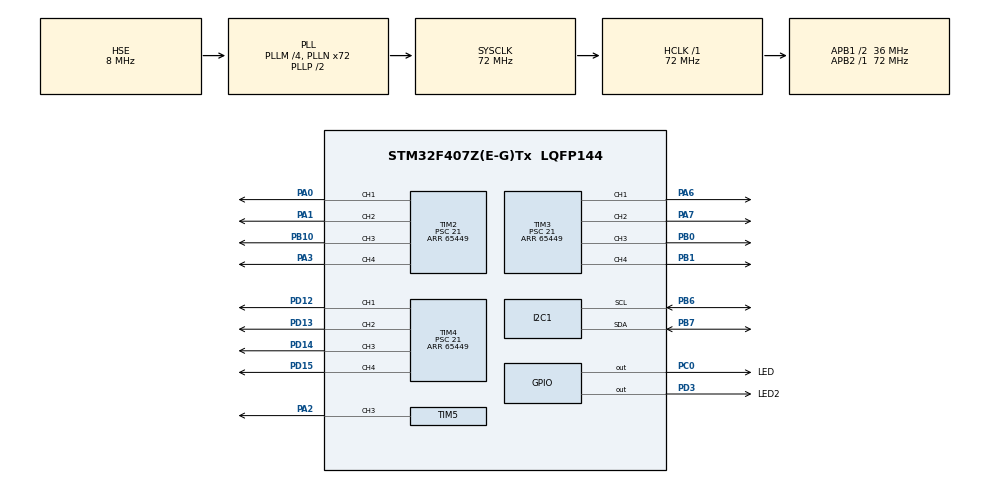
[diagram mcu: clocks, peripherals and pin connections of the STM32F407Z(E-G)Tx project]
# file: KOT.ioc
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Dma.I2C1_RX.0.Direction=DMA_PERIPH_TO_MEMORY
Dma.I2C1_RX.0.FIFOMode=DMA_FIFOMODE_DISABLE
Dma.I2C1_RX.0.Instance=DMA1_Stream0
Dma.I2C1_RX.0.MemDataAlignment=DMA_MDATAALIGN_BYTE
Dma.I2C1_RX.0.MemInc=DMA_MINC_ENABLE
Dma.I2C1_RX.0.Mode=DMA_NORMAL
Dma.I2C1_RX.0.PeriphDataAlignment=DMA_PDATAALIGN_BYTE
Dma.I2C1_RX.0.PeriphInc=DMA_PINC_DISABLE
Dma.I2C1_RX.0.Priority=DMA_PRIORITY_LOW
Dma.Request0=I2C1_RX
I2C1.I2C_Mode=I2C_Fast
Mcu.Family=STM32F4
Mcu.Name=STM32F407Z(E-G)Tx
Mcu.Package=LQFP144
NVIC.DMA1_Stream0_IRQn=true\:0\:0\:false\:false\:true\:false\:true\:true
NVIC.I2C1_ER_IRQn=true\:0\:0\:false\:false\:true\:true\:true\:true
NVIC.I2C1_EV_IRQn=true\:0\:0\:false\:false\:true\:true\:true\:true
NVIC.PriorityGroup=NVIC_PRIORITYGROUP_4
NVIC.TIM2_IRQn=true\:0\:0\:false\:false\:true\:true\:true\:true
NVIC.TIM3_IRQn=true\:0\:0\:false\:false\:true\:true\:true\:true
NVIC.TIM4_IRQn=true\:0\:0\:false\:false\:true\:true\:true\:true
NVIC.TIM5_IRQn=true\:0\:0\:false\:false\:true\:true\:true\:true
PA0-WKUP.Signal=S_TIM2_CH1_ETR
PA1.Signal=S_TIM2_CH2
PA2.Signal=S_TIM5_CH3
PA3.Signal=S_TIM2_CH4
PA6.Signal=S_TIM3_CH1
PA7.Signal=S_TIM3_CH2
PB0.Signal=S_TIM3_CH3
PB1.Signal=S_TIM3_CH4
PB10.Signal=S_TIM2_CH3
PB6.Mode=I2C
PB6.Signal=I2C1_SCL
PB7.Mode=I2C
PB7.Signal=I2C1_SDA
PC0.GPIO_Label=LED
PC0.GPIO_ModeDefaultOutputPP=GPIO_MODE_OUTPUT_OD
PC0.GPIO_PuPd=GPIO_PULLUP
PC0.PinState=GPIO_PIN_SET
PC0.Signal=GPIO_Output
PD12.Signal=S_TIM4_CH1
PD13.Signal=S_TIM4_CH2
PD14.Signal=S_TIM4_CH3
PD15.Signal=S_TIM4_CH4
PD3.GPIO_Label=LED2
PD3.GPIO_ModeDefaultOutputPP=GPIO_MODE_OUTPUT_OD
PD3.GPIO_PuPd=GPIO_PULLUP
PD3.PinState=GPIO_PIN_SET
PD3.Signal=GPIO_Output
PH0-OSC_IN.Mode=HSE-External-Oscillator
PH0-OSC_IN.Signal=RCC_OSC_IN
PH1-OSC_OUT.Mode=HSE-External-Oscillator
PH1-OSC_OUT.Signal=RCC_OSC_OUT
ProjectManager.HeapSize=0x200
ProjectManager.StackSize=0x400
ProjectManager.TargetToolchain=STM32CubeIDE
RCC.48MHZClocksFreq_Value=36000000
RCC.AHBFreq_Value=72000000
RCC.APB1CLKDivider=RCC_HCLK_DIV2
RCC.APB1Freq_Value=36000000
RCC.APB1TimFreq_Value=72000000
RCC.APB2Freq_Value=72000000
RCC.APB2TimFreq_Value=72000000
RCC.CortexFreq_Value=72000000
RCC.HCLKFreq_Value=72000000
RCC.HSE_VALUE=8000000
RCC.HSI_VALUE=16000000
RCC.LSE_VALUE=32768
RCC.PLLM=4
RCC.PLLN=72
RCC.PLLSourceVirtual=RCC_PLLSOURCE_HSE
RCC.SYSCLKFreq_VALUE=72000000
RCC.SYSCLKSource=RCC_SYSCLKSOURCE_PLLCLK
RCC.VCOOutputFreq_Value=144000000
SH.S_TIM2_CH1_ETR.0=TIM2_CH1,PWM Generation1 CH1
SH.S_TIM2_CH2.0=TIM2_CH2,PWM Generation2 CH2
SH.S_TIM2_CH3.0=TIM2_CH3,PWM Generation3 CH3
SH.S_TIM2_CH4.0=TIM2_CH4,PWM Generation4 CH4
SH.S_TIM3_CH1.0=TIM3_CH1,PWM Generation1 CH1
SH.S_TIM3_CH2.0=TIM3_CH2,PWM Generation2 CH2
SH.S_TIM3_CH3.0=TIM3_CH3,PWM Generation3 CH3
SH.S_TIM3_CH4.0=TIM3_CH4,PWM Generation4 CH4
SH.S_TIM4_CH1.0=TIM4_CH1,PWM Generation1 CH1
SH.S_TIM4_CH2.0=TIM4_CH2,PWM Generation2 CH2
SH.S_TIM4_CH3.0=TIM4_CH3,PWM Generation3 CH3
SH.S_TIM4_CH4.0=TIM4_CH4,PWM Generation4 CH4
SH.S_TIM5_CH3.0=TIM5_CH3,PWM Generation3 CH3
TIM2.Channel-PWM\ Generation1\ CH1=TIM_CHANNEL_1
TIM2.Channel-PWM\ Generation2\ CH2=TIM_CHANNEL_2
TIM2.Channel-PWM\ Generation3\ CH3=TIM_CHANNEL_3
TIM2.Channel-PWM\ Generation4\ CH4=TIM_CHANNEL_4
TIM2.Period=65449
TIM2.Prescaler=21
TIM3.Channel-PWM\ Generation1\ CH1=TIM_CHANNEL_1
TIM3.Channel-PWM\ Generation2\ CH2=TIM_CHANNEL_2
TIM3.Channel-PWM\ Generation3\ CH3=TIM_CHANNEL_3
TIM3.Channel-PWM\ Generation4\ CH4=TIM_CHANNEL_4
TIM3.Period=65449
TIM3.Prescaler=21
TIM4.Channel-PWM\ Generation1\ CH1=TIM_CHANNEL_1
TIM4.Channel-PWM\ Generation2\ CH2=TIM_CHANNEL_2
TIM4.Channel-PWM\ Generation3\ CH3=TIM_CHANNEL_3
TIM4.Channel-PWM\ Generation4\ CH4=TIM_CHANNEL_4
TIM4.Period=65449
TIM4.Prescaler=21
TIM5.Channel-PWM\ Generation3\ CH3=TIM_CHANNEL_3
TIM5.Period=65449
TIM5.Prescaler=21
board=custom

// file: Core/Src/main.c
/* USER CODE BEGIN Header */
/**
  ******************************************************************************
  * @file           : main.c
  * @brief          : Main program body
  ******************************************************************************
  * @attention
  *
  * Copyright (c) 2023 STMicroelectronics.
  * All rights reserved.
  *
  * This software is licensed under terms that can be found in the LICENSE file
  * in the root directory of this software component.
  * If no LICENSE file comes with this software, it is provided AS-IS.
  *
  ******************************************************************************
  */
/* USER CODE END Header */
#include "main.h"
#include "dma.h"
#include "i2c.h"
#include "tim.h"
#include "gpio.h"
#include <math.h>

/* USER CODE BEGIN Includes */
#include "mpu6050.h"
#include "stdio.h"
/* USER CODE END Includes */

/* USER CODE BEGIN PV */
MPU6050_t MPU6050;
const double J2L = 57.0; // Length of J2 (57 - 2.35)mm
const double J3L = 110.0; // Length of J3 110mm

const double Y_Rest =  70.0;
const double Z_Rest = -80.0;

const double J3_LegAngle = 15.4;

const double lines[62][4] = {{0.0, 0.0, 40.0, 1000},

                            {-30.0, 40.0, 20.0, 200},
                            {-30.0, 40.0, -20.0, 200},
                            {60.0, 40.0, -20.0, 1600},
                            {60.0, 60.0, 20.0, 200},

                            {-30.0, 30.0, 20.0, 200},
                            {-30.0, 30.0, -20.0, 200},
                            {60.0, 30.0, -20.0, 1600},
                            {60.0, 50.0, 20.0, 200},

                            {-30.0, 20.0, 20.0, 200},
                            {-30.0, 20.0, -20.0, 200},
                            {60.0, 20.0, -20.0, 1600},
                            {60.0, 40.0, 20.0, 200},

                            {-30.0, 10.0, 20.0, 200},
                            {-30.0, 10.0, -20.0, 200},
                            {60.0, 10.0, -20.0, 1600},
                            {60.0, 30.0, 20.0, 200},

                            {-30.0, 0.0, 20.0, 200},
                            {-30.0, 0.0, -20.0, 200},
                            {60.0, 0.0, -20.0, 1600},
                            {60.0, 20.0, 20.0, 200},

                            {-30.0, 40.0, 20.0, 200},
                            {-30.0, 40.0, -20.0, 200},
                            {-30.0, 0.0, -20.0, 800},
                            {-30.0, 20.0, 20.0, 200},

                            {-20.0, 40.0, 20.0, 200},
                            {-20.0, 40.0, -20.0, 200},
                            {-20.0, 0.0, -20.0, 800},
                            {-20.0, 20.0, 20.0, 200},

                            {-10.0, 40.0, 20.0, 200},
                            {-10.0, 40.0, -20.0, 200},
                            {-10.0, 0.0, -20.0, 800},
                            {-10.0, 20.0, 20.0, 200},

                            {0.0, 40.0, 20.0, 200},
                            {0.0, 40.0, -20.0, 200},
                            {0.0, 0.0, -20.0, 800},
                            {0.0, 20.0, 20.0, 200},

                            {10.0, 40.0, 20.0, 200},
                            {10.0, 40.0, -20.0, 200},
                            {10.0, 0.0, -20.0, 800},
                            {10.0, 20.0, 20.0, 200},

                            {20.0, 40.0, 0.0, 200},
                            {20.0, 40.0, -20.0, 200},
                            {20.0, 0.0, -20.0, 800},
                            {20.0, 20.0, 0.0, 200},

                            {30.0, 40.0, 0.0, 200},
                            {30.0, 40.0, -20.0, 200},
                            {30.0, 0.0, -20.0, 800},
                            {30.0, 20.0, 0.0, 200},

                            {40.0, 40.0, 0.0, 200},
                            {40.0, 40.0, -20.0, 200},
                            {40.0, 0.0, -20.0, 800},
                            {40.0, 20.0, 0.0, 200},

                            {50.0, 40.0, 0.0, 200},
                            {50.0, 40.0, -20.0, 200},
                            {50.0, 0.0, -20.0, 800},
                            {50.0, 20.0, 0.0, 200},

                            {60.0, 40.0, 0.0, 200},
                            {60.0, 40.0, -20.0, 200},
                            {60.0, 0.0, -20.0, 800},
                            {60.0, 20.0, 0.0, 200},

                            {0.0, 0.0, 40.0, 200}};
/* USER CODE END PV */

void SystemClock_Config(void);

void CartesianMove(double X, double Y, double Z);
void UpdatePosition(double J1, double J2, double J3);

/* USER CODE BEGIN 0 */
int _write(int file, char *ptr, int len)
{
	int i=0;
	for(i=0; i<len; i++) ITM_SendChar((*ptr++));
	return len;
}
/* USER CODE END 0 */

int main(void)
{

  /* MCU Configuration--------------------------------------------------------*/

  /* Reset of all peripherals, Initializes the Flash interface and the Systick. */
  HAL_Init();

  /* Configure the system clock */
  SystemClock_Config();

  /* Initialize all configured peripherals */
  MX_GPIO_Init();
  MX_DMA_Init();
  MX_I2C1_Init();
  MX_TIM2_Init();
  MX_TIM3_Init();
  MX_TIM4_Init();
  MX_TIM5_Init();
  /* USER CODE BEGIN 2 */
  //while (MPU6050_Init(&hi2c1) == 1);

  HAL_TIM_PWM_Start_IT(&htim2, TIM_CHANNEL_1);
  HAL_TIM_PWM_Start_IT(&htim2, TIM_CHANNEL_2);
  HAL_TIM_PWM_Start_IT(&htim2, TIM_CHANNEL_3);
  HAL_TIM_PWM_Start_IT(&htim2, TIM_CHANNEL_4);

  HAL_TIM_PWM_Start_IT(&htim3, TIM_CHANNEL_1);
  HAL_TIM_PWM_Start_IT(&htim3, TIM_CHANNEL_2);
  HAL_TIM_PWM_Start_IT(&htim3, TIM_CHANNEL_3);
  HAL_TIM_PWM_Start_IT(&htim3, TIM_CHANNEL_4);

  HAL_TIM_PWM_Start_IT(&htim4, TIM_CHANNEL_1);
  HAL_TIM_PWM_Start_IT(&htim4, TIM_CHANNEL_2);
  HAL_TIM_PWM_Start_IT(&htim4, TIM_CHANNEL_3);
  HAL_TIM_PWM_Start_IT(&htim5, TIM_CHANNEL_3);

 void UpdatePosition(double J1, double J2, double J3)
  {
    // MOVE TO POSITION
	TIM2 ->CCR1 = (90 - J1)*38.33333333333333+1600;
	TIM2 ->CCR2 = (90 - J2)*38.33333333333333+1600;
	TIM2 ->CCR3 = (J3 + J3_LegAngle - 90)*38.33333333333333+1600;

	TIM2 ->CCR4 = (90 - J1)*38.33333333333333+1600;
	TIM3 ->CCR1 = (90 - J2)*38.33333333333333+1600;
	TIM3 ->CCR2 = (J3 + J3_LegAngle - 90)*38.33333333333333+1600;

	TIM3 ->CCR3 = (90 - J1)*38.33333333333333+1600;
	TIM3 ->CCR4 = (90 - J2)*38.33333333333333+1600;
	TIM4 ->CCR1 = (J3 + J3_LegAngle - 90)*38.33333333333333+16000;

	TIM4 ->CCR2 = (90 - J1)*38.33333333333333+1600;
	TIM4 ->CCR3 = (90 - J2)*38.33333333333333+1600;
	TIM5 ->CCR3 = (J3 + J3_LegAngle - 90)*38.33333333333333+1600;
	HAL_Delay(200);
  }

  void CartesianMove(double X, double Y, double Z)
    {
    // OFFSET TO REST POSITION
    Y += Y_Rest;
    Z += Z_Rest;

    // CALCULATE INVERSE KINEMATIC SOLUTION
    double J1 = atan(X / Y) * (180 / M_PI);
    double H = sqrt((Y * Y) + (X * X));
    double L = sqrt((H * H) + (Z * Z));
    double J3 = acos(   ((J2L * J2L) + (J3L * J3L) - (L * L))   /   (2 * J2L * J3L)   ) * (180 / M_PI);
    double B = acos(   ((L * L) + (J2L * J2L) - (J3L * J3L))   /   (2 * L * J2L)   ) * (180 / M_PI);
    double A = atan(Z / H) * (180 / M_PI);  // BECAUSE Z REST IS NEGATIVE, THIS RETURNS A NEGATIVE VALUE
    double J2 = (B + A);  // BECAUSE 'A' IS NEGATIVE AT REST WE NEED TO INVERT '-' TO '+'

    UpdatePosition(J1, J2, J3);
    }

  /* USER CODE END 2 */

  /* Infinite loop */
  /* USER CODE BEGIN WHILE */

  while (1)
  {
	  for(int commandStep = 0; commandStep < 62; commandStep++)
	  {
		  double xMove = lines[commandStep][0];
		  double yMove = lines[commandStep][1];
		  double zMove = lines[commandStep][2];

		  CartesianMove(xMove, yMove, zMove);
	  }
    /* USER CODE END WHILE */

    /* USER CODE BEGIN 3 */
	  /*HAL_GPIO_WritePin(LED_GPIO_Port, LED_Pin, GPIO_PIN_RESET);
	  HAL_Delay(500);
	  HAL_GPIO_WritePin(LED_GPIO_Port, LED_Pin, GPIO_PIN_SET);
	  HAL_Delay(500);
	  HAL_GPIO_WritePin(LED2_GPIO_Port, LED2_Pin, GPIO_PIN_RESET);
	  HAL_Delay(500);
	  HAL_GPIO_WritePin(LED2_GPIO_Port, LED2_Pin, GPIO_PIN_SET);
	  HAL_Delay(500);*/
	 //MPU6050_Read_All(&hi2c1, &MPU6050);
	 //HAL_Delay (100);
  }
  /* USER CODE END 3 */
}

void SystemClock_Config(void)
{
  RCC_OscInitTypeDef RCC_OscInitStruct = {0};
  RCC_ClkInitTypeDef RCC_ClkInitStruct = {0};

  /** Configure the main internal regulator output voltage
  */
  __HAL_RCC_PWR_CLK_ENABLE();
  __HAL_PWR_VOLTAGESCALING_CONFIG(PWR_REGULATOR_VOLTAGE_SCALE1);

  /** Initializes the RCC Oscillators according to the specified parameters
  * in the RCC_OscInitTypeDef structure.
  */
  RCC_OscInitStruct.OscillatorType = RCC_OSCILLATORTYPE_HSE;
  RCC_OscInitStruct.HSEState = RCC_HSE_ON;
  RCC_OscInitStruct.PLL.PLLState = RCC_PLL_ON;
  RCC_OscInitStruct.PLL.PLLSource = RCC_PLLSOURCE_HSE;
  RCC_OscInitStruct.PLL.PLLM = 4;
  RCC_OscInitStruct.PLL.PLLN = 72;
  RCC_OscInitStruct.PLL.PLLP = RCC_PLLP_DIV2;
  RCC_OscInitStruct.PLL.PLLQ = 4;
  if (HAL_RCC_OscConfig(&RCC_OscInitStruct) != HAL_OK)
  {
    Error_Handler();
  }

  /** Initializes the CPU, AHB and APB buses clocks
  */
  RCC_ClkInitStruct.ClockType = RCC_CLOCKTYPE_HCLK|RCC_CLOCKTYPE_SYSCLK
                              |RCC_CLOCKTYPE_PCLK1|RCC_CLOCKTYPE_PCLK2;
  RCC_ClkInitStruct.SYSCLKSource = RCC_SYSCLKSOURCE_PLLCLK;
  RCC_ClkInitStruct.AHBCLKDivider = RCC_SYSCLK_DIV1;
  RCC_ClkInitStruct.APB1CLKDivider = RCC_HCLK_DIV2;
  RCC_ClkInitStruct.APB2CLKDivider = RCC_HCLK_DIV1;

  if (HAL_RCC_ClockConfig(&RCC_ClkInitStruct, FLASH_LATENCY_2) != HAL_OK)
  {
    Error_Handler();
  }
}

void Error_Handler(void)
{
  __disable_irq();
  while (1)
  {
  }
}
